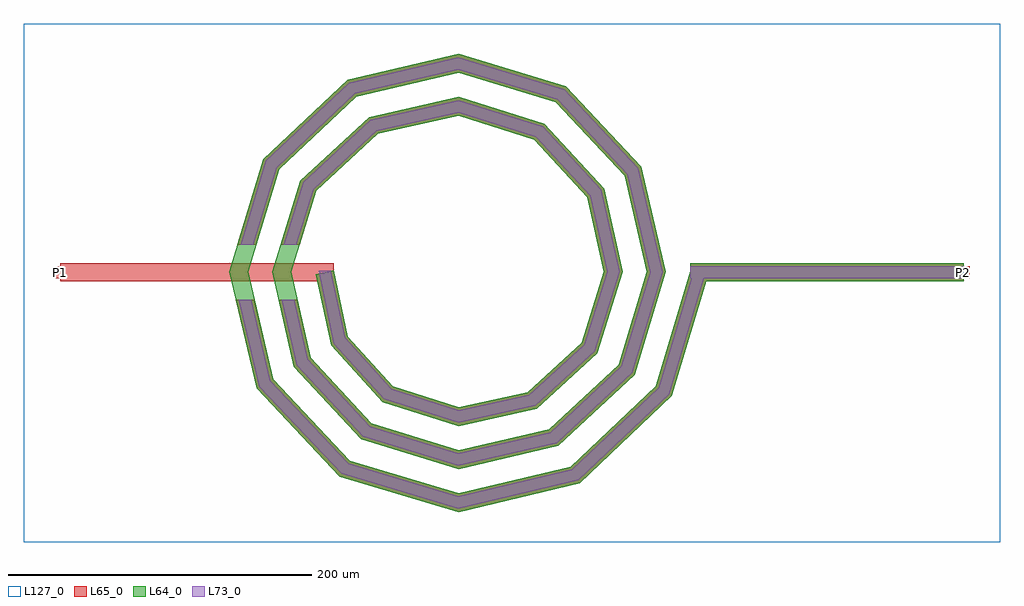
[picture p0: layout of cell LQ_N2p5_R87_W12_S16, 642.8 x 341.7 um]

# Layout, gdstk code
import gdstk
lib = gdstk.Library(unit=1e-6, precision=1e-09)
def R(c, l, rs):  # rectangles x0, y0, x1, y1
    for r in rs: c.add(gdstk.rectangle(r[:2], r[2:], *l))
def P(c, l, *ps):  # polygons
    for p in ps: c.add(gdstk.Polygon(p, *l))
L64_0 = (64, 0)
L65_0 = (65, 0)
L73_0 = (73, 0)
L127_0 = (127, 0)

lq_n2p5_r87_w12_s16 = lib.new_cell('LQ_N2p5_R87_W12_S16')
R(lq_n2p5_r87_w12_s16, L64_0, [(152.803,-6,332.803,6)])
P(lq_n2p5_r87_w12_s16, L64_0, [(-72.728,-42.339),(-43.001,-75.07),(0.288,-88.873),(45.86,-78.87),(81.191,-46.559),(95.953,0.268),(85.011,49.383),(50.115,87.313),(0.25,103.033),(-52.908,91.15),(-93.436,53.668),(-110.112,0.235),(-97.289,-56.436),(-57.221,-99.561),(0.222,-117.192),(59.965,-103.427),(105.686,-60.771),(124.272,0.21),(109.564,63.495),(64.321,111.812),(0.199,131.352),(-67.026,115.701),(-117.938,67.87),(-138.433,0.189),(-121.837,-70.557),(-71.418,-124.065),(0.18,-145.513),(74.09,-127.973),(130.193,-74.965),(153.053,1.714),(164.552,-1.714),(140.773,-81.477),(79.992,-138.906),(0.18,-157.932),(-77.944,-134.637),(-132.778,-76.445),(-150.851,0.189),(-128.501,74.412),(-72.896,126.65),(0.199,143.77),(70.88,122.364),(120.524,69.347),(136.69,0.21),(116.226,-67.35),(65.796,-114.397),(0.222,-129.609),(-63.82,-110.088),(-108.272,-62.245),(-122.528,0.235),(-103.948,60.292),(-58.692,102.147),(0.25,115.447),(56.765,97.808),(96.023,55.137),(108.366,0.268),(91.667,-53.24),(51.58,-89.9),(0.288,-101.285),(-49.718,-85.524),(-83.778,-48.02),(-93.864,-1.265),(-82.134,1.265)])
R(lq_n2p5_r87_w12_s16, L65_0, [(-261.999,-6,-81.999,6), (152.803,-6,332.803,6), (-265.999,-4,-257.999,4), (328.803,-4,336.803,4)])
P(lq_n2p5_r87_w12_s16, L65_0, [(-121.837,-70.557),(-71.418,-124.065),(0.18,-145.513),(74.09,-127.973),(130.193,-74.965),(153.053,1.714),(164.553,-1.714),(140.773,-81.477),(79.992,-138.906),(0.18,-157.932),(-77.944,-134.637),(-132.778,-76.445),(-146.561,-18),(-134.232,-18)],
  [(-97.289,-56.436),(-57.221,-99.561),(0.222,-117.192),(59.965,-103.427),(105.686,-60.771),(124.272,0.21),(109.564,63.495),(64.321,111.812),(0.199,131.353),(-67.026,115.701),(-117.938,67.87),(-132.955,18),(-145.488,18),(-128.501,74.412),(-72.896,126.651),(0.199,143.77),(70.88,122.364),(120.524,69.347),(136.69,0.21),(116.226,-67.35),(65.796,-114.397),(0.222,-129.609),(-63.82,-110.088),(-108.272,-62.245),(-118.367,-18),(-106.059,-18)],
  [(-43.001,-75.07),(0.288,-88.873),(45.86,-78.87),(81.191,-46.559),(95.953,0.268),(85.011,49.383),(50.115,87.313),(0.25,103.033),(-52.909,91.15),(-93.436,53.669),(-104.471,18),(-117.032,18),(-103.949,60.292),(-58.692,102.147),(0.25,115.447),(56.765,97.808),(96.023,55.137),(108.366,0.268),(91.667,-53.24),(51.58,-89.9),(0.288,-101.285),(-49.718,-85.524),(-83.778,-48.02),(-93.864,-1.265),(-82.134,1.265),(-72.728,-42.339)])
R(lq_n2p5_r87_w12_s16, L73_0, [(152.803,-4,332.803,4)])
P(lq_n2p5_r87_w12_s16, L73_0, [(-123.661,-71.539),(-72.506,-125.827),(0.12,-147.583),(75.074,-129.795),(131.956,-76.05),(154.969,1.143),(162.636,-1.143),(139.01,-80.392),(79.009,-137.083),(0.12,-155.862),(-76.857,-132.875),(-130.954,-75.463),(-144.506,-18),(-136.287,-18)],
  [(-99.119,-57.404),(-58.321,-101.315),(0.148,-119.262),(60.937,-105.255),(107.443,-61.868),(126.342,0.14),(111.391,64.47),(65.414,113.571),(0.133,133.422),(-68.004,117.526),(-119.699,68.96),(-135.044,18),(-143.399,18),(-126.74,73.322),(-71.918,124.826),(0.133,141.701),(69.787,120.605),(118.697,68.371),(134.62,0.14),(114.469,-66.253),(64.824,-112.569),(0.148,-127.54),(-62.72,-108.333),(-106.441,-61.277),(-116.316,-18),(-108.11,-18)],
  [(-44.121,-76.813),(0.192,-90.942),(46.813,-80.708),(82.937,-47.673),(98.022,0.178),(86.846,50.342),(51.223,89.062),(0.167,105.102),(-53.872,92.983),(-95.188,54.772),(-106.565,18),(-114.939,18),(-102.197,59.188),(-57.728,100.314),(0.167,113.378),(55.657,96.059),(94.188,54.178),(106.297,0.178),(89.921,-52.127),(50.626,-88.062),(0.192,-99.217),(-48.598,-83.782),(-81.937,-47.073),(-91.909,0.843),(-84.089,0.843),(-74.57,-43.286)])
R(lq_n2p5_r87_w12_s16, L127_0, [(-285.999,-177.932,356.803,163.77)])
lq_n2p5_r87_w12_s16.add(gdstk.Label('P2', (332.803,0), layer=65, texttype=0))
lq_n2p5_r87_w12_s16.add(gdstk.Label('P1', (-261.999,0), layer=65, texttype=0))
lq_n2p5_r87_w12_s16.add(gdstk.Label('P2', (336.803,0), layer=145, texttype=0))
lq_n2p5_r87_w12_s16.add(gdstk.Label('P1', (-265.999,0), layer=145, texttype=0))

lib.write_gds('LQ_N2p5_R87_W12_S16.gds')
